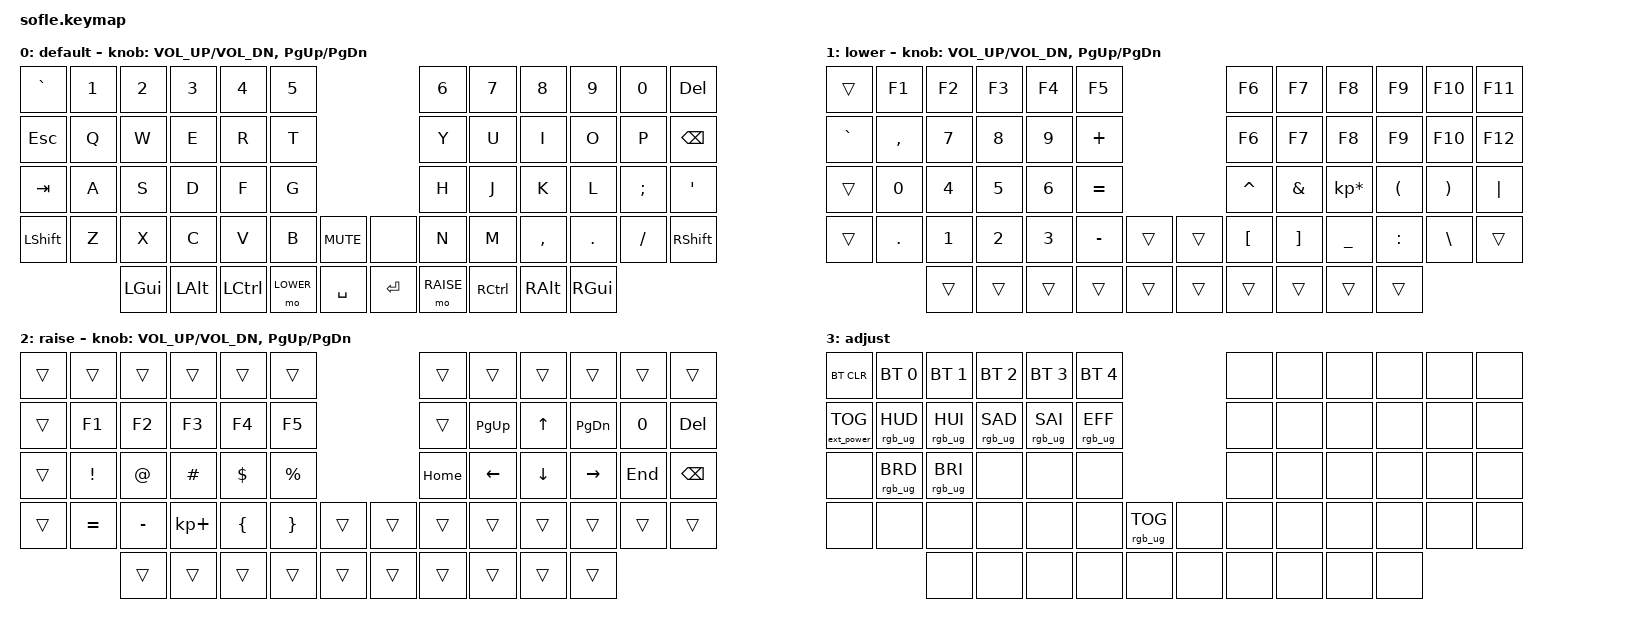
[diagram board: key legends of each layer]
/*
 * Copyright (c) 2020 The ZMK Contributors
 * Good soup
 * SPDX-License-Identifier: MIT
 */

#include <behaviors.dtsi>
#include <dt-bindings/zmk/keys.h>
#include <dt-bindings/zmk/bt.h>
#include <dt-bindings/zmk/rgb.h>
#include <dt-bindings/zmk/ext_power.h>

#define BASE 0
#define LOWER 1
#define RAISE 2
#define ADJUST 3

/ {

   // Activate ADJUST layer by pressing raise and lower
    conditional_layers {
        compatible = "zmk,conditional-layers";
        adjust_layer {
            if-layers = <LOWER RAISE>;
            then-layer = <ADJUST>;
        };
    };
    keymap {
        compatible = "zmk,keymap";

        default_layer {
            display-name = "default";
// ------------------------------------------------------------------------------------------------------------
// |   `   |  1  |  2  |  3   |  4   |  5   |                   |  6   |  7    |  8    |  9   |   0   |       |
// |  ESC  |  Q  |  W  |  E   |  R   |  T   |                   |  Y   |  U    |  I    |  O   |   P   | BKSPC |
// |  TAB  |  A  |  S  |  D   |  F   |  G   |                   |  H   |  J    |  K    |  L   |   ;   |   '   |
// | SHIFT |  Z  |  X  |  C   |  V   |  B   |  MUTE  |  |       |  N   |  M    |  ,    |  .   |   /   | SHIFT |
//               | GUI | ALT  | CTRL | LOWER|  ENTER |  | SPACE | RAISE| CTRL  | ALT   | GUI  |
            bindings = <
&kp GRAVE &kp N1 &kp N2   &kp N3   &kp N4    &kp N5                           &kp N6 &kp N7    &kp N8    &kp N9   &kp N0   &kp DEL
&kp ESC   &kp Q  &kp W    &kp E    &kp R     &kp T                            &kp Y  &kp U     &kp I     &kp O    &kp P    &kp BSPC
&kp TAB   &kp A  &kp S    &kp D    &kp F     &kp G                            &kp H  &kp J     &kp K     &kp L    &kp SEMI &kp SQT
&kp LSHFT &kp Z  &kp X    &kp C    &kp V     &kp B      &kp C_MUTE &none      &kp N  &kp M     &kp COMMA &kp DOT  &kp FSLH &kp RSHFT
                 &kp LGUI &kp LALT &kp LCTRL &mo LOWER  &kp SPACE    &kp RET  &mo RAISE  &kp RCTRL &kp RALT  &kp RGUI
            >;

            sensor-bindings = <&inc_dec_kp C_VOL_UP C_VOL_DN &inc_dec_kp PG_UP PG_DN>;
        };

        lower_layer {
            display-name = "lower";
// TODO: Some binds are waiting for shifted keycode support.
// ------------------------------------------------------------------------------------------------------------
// |       |  F1 |  F2 |  F3  |  F4  |  F5  |                   |  F6  |  F7   |  F8   |  F9  |  F10  |  F11  |
// |   `   |  ,  |  7  |  8   |  9   |  +   |                   |  F6  |  F7   |  F8   |  F9  |  F10  |  F11  |
// |       |  0  |  4  |  5   |  6   |  =   |                   |  ^   |  &    |  *    |  (   |   )   |   |   |
// |       |  .  |  1  |  2   |  3   |  -   |        |  |       |  [   |  ]    |  _    |  :   |   \   |       |
//               |     |      |      |      |        |  |       |      |       |       |      |
            bindings = <
&trans    &kp F1    &kp F2    &kp F3      &kp F4    &kp F5                    &kp F6    &kp F7   &kp F8          &kp F9    &kp F10   &kp F11
&kp GRAVE &kp COMMA &kp N7    &kp N8      &kp N9    &kp PLUS                  &kp F6    &kp F7   &kp F8          &kp F9    &kp F10    &kp F12
&trans    &kp N0    &kp N4    &kp N5      &kp N6    &kp EQUAL                 &kp CARET &kp AMPS &kp KP_MULTIPLY &kp LPAR  &kp RPAR  &kp PIPE
&trans    &kp DOT   &kp N1    &kp N2      &kp N3    &kp MINUS  &trans &trans  &kp LBKT  &kp RBKT &kp UNDER       &kp COLON &kp BSLH  &trans
                    &trans    &trans      &trans    &trans     &trans &trans  &trans    &trans   &trans          &trans
            >;

            sensor-bindings = <&inc_dec_kp C_VOL_UP C_VOL_DN &inc_dec_kp PG_UP PG_DN>;
        };

        raise_layer {
            display-name = "raise";
// ------------------------------------------------------------------------------------------------------------
// |       |      |      |       |       |      |                |      |      |       |      |       |       |
// |       | F1   | F2   | F3    |  F4   |  F5  |                |      | PGDN |   ^   | PGUP |       |       |
// |       |  !   |  @   |  #    |  $    |  %   |                | HOME |   <- |   v   |  ->  |  END  | BKSPC |
// |       |  =   |  -   |  +    |  {    |  }   |      |  |      |      |      |       |      |       |       |
//                |      |       |       |      |      |  |      |      |      |       |      |
            bindings = <
&trans     &trans       &trans       &trans       &trans       &trans                        &trans    &trans    &trans   &trans    &trans  &trans
&trans     &kp F1       &kp F2       &kp F3       &kp F4       &kp F5                        &trans    &kp PG_UP &kp UP   &kp PG_DN &kp N0  &kp DEL
&trans     &kp EXCL     &kp AT       &kp HASH     &kp DLLR     &kp PRCNT                     &kp HOME  &kp LEFT  &kp DOWN &kp RIGHT &kp END &kp BSPC
&trans     &kp EQUAL    &kp MINUS    &kp KP_PLUS  &kp LBRC     &kp RBRC      &trans  &trans  &trans    &trans    &trans   &trans    &trans  &trans
                        &trans       &trans       &trans       &trans        &trans  &trans  &trans    &trans    &trans   &trans
            >;

            sensor-bindings = <&inc_dec_kp C_VOL_UP C_VOL_DN &inc_dec_kp PG_UP PG_DN>;
        };

        adjust_layer {
// ----------------------------------------------------------------------------------------------------------------------------
// | BTCLR  |  BT1    |  BT2    |   BT3   |   BT4   |   BT5   |                  |      |      |       |      |       |       |
// | EXTPWR | RGB_HUD | RGB_HUI | RGB_SAD | RGB_SAI | RGB_EFF |                  |      |      |       |      |       |       |
// |        | RGB_BRD | RGB_BRI |         |         |         |                  |      |      |       |      |       |       |
// |        |         |         |         |         |         | RGB_TOG | |      |      |      |       |      |       |       |
//                    |         |         |         |         |         | |      |      |      |       |      |
            display-name = "adjust";
            bindings = <
&bt BT_CLR        &bt BT_SEL 0    &bt BT_SEL 1    &bt BT_SEL 2    &bt BT_SEL 3    &bt BT_SEL 4                            &none &none &none &none &none &none
&ext_power EP_TOG &rgb_ug RGB_HUD &rgb_ug RGB_HUI &rgb_ug RGB_SAD &rgb_ug RGB_SAI &rgb_ug RGB_EFF                         &none &none &none &none &none &none
&none             &rgb_ug RGB_BRD &rgb_ug RGB_BRI &none           &none           &none                                   &none &none &none &none &none &none
&none             &none           &none           &none           &none           &none            &rgb_ug RGB_TOG &none  &none &none &none &none &none &none
                                  &none           &none           &none           &none            &none           &none  &none &none &none &none
            >;
        };

    };
};
